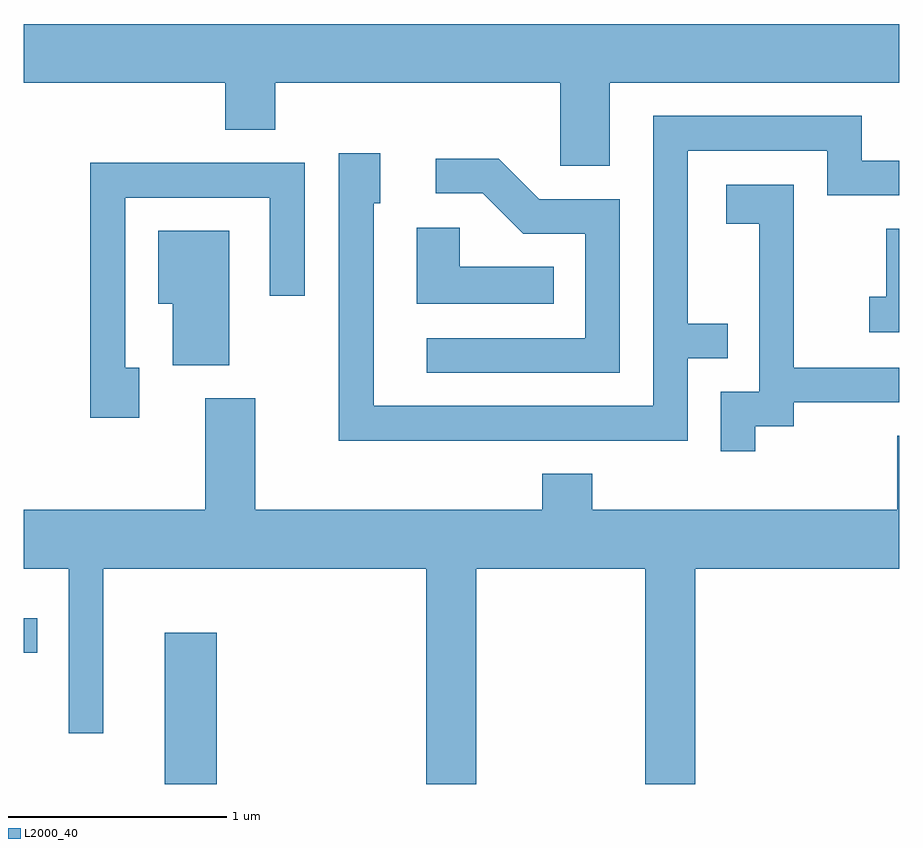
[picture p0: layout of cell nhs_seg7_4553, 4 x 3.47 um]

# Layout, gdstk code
import gdstk
lib = gdstk.Library(unit=1e-6, precision=1e-09)
def R(c, l, rs):  # rectangles x0, y0, x1, y1
    for r in rs: c.add(gdstk.rectangle(r[:2], r[2:], *l))
def P(c, l, *ps):  # polygons
    for p in ps: c.add(gdstk.Polygon(p, *l))
L2000_40 = (2000, 40)

nhs_seg7_4553 = lib.new_cell('nhs_seg7_4553')
R(nhs_seg7_4553, L2000_40, [(326.256,1682.252,326.494,1682.944), (325.611,1682.851,325.673,1683.009)])
P(nhs_seg7_4553, L2000_40, [(328.289,1685.456),(329.611,1685.456),(329.611,1685.724),(325.611,1685.724),(325.611,1685.456),(326.531,1685.456),(326.531,1685.241),(326.759,1685.241),(326.759,1685.456),(328.061,1685.456),(328.061,1685.076),(328.289,1685.076)],
  [(328.644,1684.196),(328.828,1684.196),(328.828,1684.354),(328.644,1684.354),(328.644,1685.146),(329.281,1685.146),(329.281,1684.941),(329.611,1684.941),(329.611,1685.099),(329.439,1685.099),(329.439,1685.304),(328.486,1685.304),(328.486,1683.979),(327.209,1683.979),(327.209,1684.906),(327.239,1684.906),(327.239,1685.134),(327.051,1685.134),(327.051,1683.821),(328.644,1683.821)],
  [(328.334,1684.924),(327.967,1684.924),(327.782,1685.109),(327.493,1685.109),(327.493,1684.951),(327.709,1684.951),(327.894,1684.766),(328.176,1684.766),(328.176,1684.289),(327.453,1684.289),(327.453,1684.131),(328.334,1684.131)],
  [(326.139,1684.154),(326.074,1684.154),(326.074,1684.931),(326.736,1684.931),(326.736,1684.483),(326.894,1684.483),(326.894,1685.089),(325.916,1685.089),(325.916,1683.926),(326.139,1683.926)],
  [(328.954,1683.886),(329.129,1683.886),(329.129,1683.996),(329.611,1683.996),(329.611,1684.154),(329.129,1684.154),(329.129,1684.989),(328.821,1684.989),(328.821,1684.811),(328.971,1684.811),(328.971,1684.044),(328.796,1684.044),(328.796,1683.773),(328.954,1683.773)],
  [(328.033,1684.614),(327.604,1684.614),(327.604,1684.794),(327.406,1684.794),(327.406,1684.446),(328.033,1684.446)],
  [(329.611,1684.789),(329.551,1684.789),(329.551,1684.479),(329.473,1684.479),(329.473,1684.316),(329.611,1684.316)],
  [(326.549,1684.779),(326.226,1684.779),(326.226,1684.446),(326.291,1684.446),(326.291,1684.166),(326.549,1684.166)],
  [(327.679,1683.236),(328.451,1683.236),(328.451,1682.252),(328.679,1682.252),(328.679,1683.236),(329.611,1683.236),(329.611,1683.844),(329.601,1683.844),(329.601,1683.504),(328.209,1683.504),(328.209,1683.669),(327.981,1683.669),(327.981,1683.504),(326.669,1683.504),(326.669,1684.014),(326.441,1684.014),(326.441,1683.504),(325.611,1683.504),(325.611,1683.236),(325.816,1683.236),(325.816,1682.483),(325.974,1682.483),(325.974,1683.236),(327.451,1683.236),(327.451,1682.252),(327.679,1682.252)])

lib.write_gds('nhs_seg7_4553.gds')
